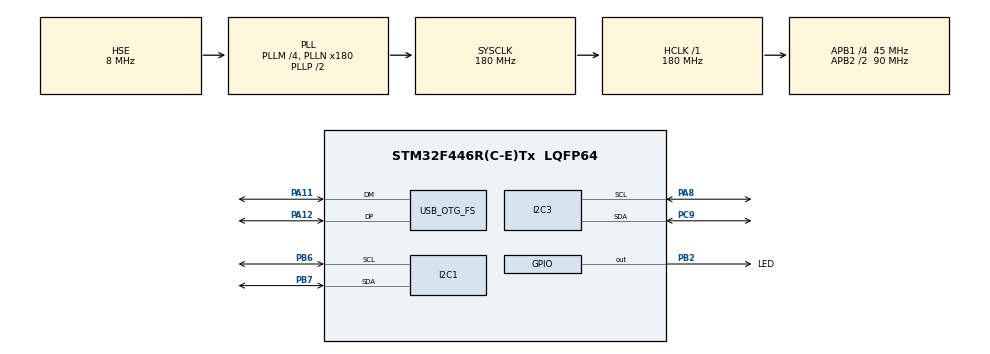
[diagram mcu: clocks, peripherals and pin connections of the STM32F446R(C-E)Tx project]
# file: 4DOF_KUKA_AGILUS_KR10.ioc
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I2C3.I2C_Mode=I2C_Fast
Mcu.Family=STM32F4
Mcu.Name=STM32F446R(C-E)Tx
Mcu.Package=LQFP64
NVIC.OTG_FS_IRQn=true\:0\:0\:false\:false\:true\:false\:true\:true
NVIC.PriorityGroup=NVIC_PRIORITYGROUP_4
PA11.Mode=Device_Only
PA11.Signal=USB_OTG_FS_DM
PA12.Mode=Device_Only
PA12.Signal=USB_OTG_FS_DP
PA13.Mode=Serial_Wire
PA13.Signal=SYS_JTMS-SWDIO
PA14.Mode=Serial_Wire
PA14.Signal=SYS_JTCK-SWCLK
PA8.Mode=I2C
PA8.Signal=I2C3_SCL
PB2.GPIO_Label=LED
PB2.Signal=GPIO_Output
PB6.Mode=I2C
PB6.Signal=I2C1_SCL
PB7.Mode=I2C
PB7.Signal=I2C1_SDA
PC9.Mode=I2C
PC9.Signal=I2C3_SDA
PH0-OSC_IN.Mode=HSE-External-Oscillator
PH0-OSC_IN.Signal=RCC_OSC_IN
PH1-OSC_OUT.Mode=HSE-External-Oscillator
PH1-OSC_OUT.Signal=RCC_OSC_OUT
ProjectManager.HeapSize=0x200
ProjectManager.StackSize=0x400
ProjectManager.TargetToolchain=STM32CubeIDE
RCC.AHBFreq_Value=180000000
RCC.APB1CLKDivider=RCC_HCLK_DIV4
RCC.APB1Freq_Value=45000000
RCC.APB1TimFreq_Value=90000000
RCC.APB2CLKDivider=RCC_HCLK_DIV2
RCC.APB2Freq_Value=90000000
RCC.APB2TimFreq_Value=180000000
RCC.CortexFreq_Value=180000000
RCC.HCLKFreq_Value=180000000
RCC.HSE_VALUE=8000000
RCC.PLLM=4
RCC.PLLN=180
RCC.PLLQ=7
RCC.PLLSAIM=8
RCC.PLLSAIP=RCC_PLLSAIP_DIV4
RCC.SYSCLKFreq_VALUE=180000000
RCC.SYSCLKSource=RCC_SYSCLKSOURCE_PLLCLK
RCC.USBCLockSelection=RCC_CLK48CLKSOURCE_PLLSAIP
RCC.USBFreq_Value=48000000
RCC.VCOOutputFreq_Value=360000000
USB_DEVICE.CLASS_NAME_FS=CDC
USB_DEVICE.MANUFACTURER_STRING-CDC_FS=DarckoElectronics
USB_DEVICE.VirtualMode-CDC_FS=Cdc
USB_DEVICE.VirtualModeFS=Cdc_FS
USB_OTG_FS.VirtualMode=Device_Only
VP_USB_DEVICE_VS_USB_DEVICE_CDC_FS.Mode=CDC_FS
board=custom

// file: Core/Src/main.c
/* USER CODE BEGIN Header */
/**
 ******************************************************************************
 * @file           : main.c
 * @brief          : Main program body
 ******************************************************************************
 * @attention
 *
 * Copyright (c) 2026 STMicroelectronics.
 * All rights reserved.
 *
 * This software is licensed under terms that can be found in the LICENSE file
 * in the root directory of this software component.
 * If no LICENSE file comes with this software, it is provided AS-IS.
 *
 ******************************************************************************
 */
/* USER CODE END Header */
#include "main.h"
#include "usb_device.h"

/* USER CODE BEGIN Includes */
#include <math.h>
#include <stdarg.h>
#include <stdio.h>
#include <stdlib.h>
#include <string.h>
#include <usbd_cdc_if.h>

#include "ANSII_Codes.h"
#include "SSD1306.h"
#include "PCA9685.h"
#include "robotics.h"
/* USER CODE END Includes */

/* USER CODE BEGIN PTD */
#if KR10_TERMINAL_MENU
/** Estado del menú de usuario */
typedef enum {
	MENU_MAIN,          /**< Esperando una opción del menú principal */
	MENU_ANGLES,        /**< Capturando los ángulos articulares */
	MENU_SEQUENCE       /**< Secuencia de prueba en ejecución */
} Menu_State_t;
#endif
/* USER CODE END PTD */

/* USER CODE BEGIN PD */
// ============================================================================
// SECUENCIA DE PRUEBA
// ============================================================================
#define DELAY_TEST_SEQUENCE     5000U   /**< Tiempo entre poses de la secuencia [ms] */
#define TEST_SEQUENCE_LENGTH    5U      /**< Número de poses de la secuencia */

// ============================================================================
// CONFIGURACIÓN DE SERVOS
// ============================================================================
#define SERVO_PWM_FREQUENCY     50U     /**< Frecuencia PWM para servos [Hz] */
#define SERVO_UPDATE_INTERVAL   20U     /**< Periodo de actualización del movimiento suave [ms] */
#define SERVO_MOVE_DURATION     1500U   /**< Duración de cada movimiento [ms] */
#define SERVO_ZERO_DEG          0.0f    /**< Ángulo del servo correspondiente a q = 0 (horizontal) [°] */

// ============================================================================
// INTERFAZ USB-CDC
// ============================================================================
#define CDC_TX_TIMEOUT          20U     /**< Espera máxima por mensaje si el host no lee [ms] */
#define RX_RING_SIZE            256U    /**< Bytes recibidos pendientes de procesar */
#define LINE_BUFFER_SIZE        32U     /**< Longitud máxima de una línea de la interfaz de terminal */
#define CMD_LINE_SIZE           96U     /**< Longitud máxima de una línea del protocolo de host */
#define OLED_TITLE_SIZE         20U     /**< Longitud del título mostrado en la barra de la OLED */
#define KR10_FW_VERSION         "1.1"   /**< Versión del firmware informada al host */
#define KR10_LINE_PREFIX        "KR10:" /**< Prefijo de toda línea emitida hacia el host */

/** Poner a 1 para compilar la interfaz de terminal del firmware (modo autónomo,
 *  sin PC conectado). La interfaz de Python sustituye a este menú, por lo que
 *  el valor por defecto es 0 y el firmware queda como agente de control.
 *  Se puede forzar por línea de comandos con -DKR10_TERMINAL_MENU=1. */
#ifndef KR10_TERMINAL_MENU
#define KR10_TERMINAL_MENU      0
#endif

// Estilos para la interfaz
#define HEADER_COLOR            COLOR_BRIGHT_CYAN
#define MENU_COLOR              COLOR_BRIGHT_GREEN
#define OPTION_COLOR            COLOR_CYAN
#define WARNING_COLOR           COLOR_BRIGHT_YELLOW
#define ERROR_COLOR             COLOR_BRIGHT_RED
#define SUCCESS_COLOR           COLOR_BRIGHT_GREEN
#define INFO_COLOR              COLOR_BRIGHT_BLUE
#define INPUT_COLOR             COLOR_BRIGHT_WHITE
#define VALUE_COLOR             COLOR_YELLOW
#define SEPARATOR_COLOR         COLOR_BRIGHT_MAGENTA

// Elementos gráficos de la terminal (UTF-8: cada carácter de recuadro ocupa 3 bytes)
#define BOX_TOP     "╔══════════════════════════════════════════════════╗"
#define BOX_BOTTOM  "╚══════════════════════════════════════════════════╝"
#define TERM_RULE   "──────────────────────────────────────────────────"
#define GAUGE_WIDTH             21U     /**< Ancho de la barra de posición articular [caracteres] */
/* USER CODE END PD */

I2C_HandleTypeDef hi2c1;
I2C_HandleTypeDef hi2c3;

/* USER CODE BEGIN PV */
/** Canal del PCA9685 asignado a cada articulación (base, hombro, codo, muñeca) */
static const uint8_t JointChannel[ROBOTICS_NUM_JOINTS] = {0, 1, 2, 3};

/** Secuencia de prueba en espacio articular [rad], dentro de 0°-180° */
static const float TestSequence[TEST_SEQUENCE_LENGTH][ROBOTICS_NUM_JOINTS] = {
		{ ROBOTICS_DEG2RAD(  0.0f), ROBOTICS_DEG2RAD(  0.0f), ROBOTICS_DEG2RAD(  0.0f), ROBOTICS_DEG2RAD(  0.0f) },
		{ ROBOTICS_DEG2RAD( 45.0f), ROBOTICS_DEG2RAD( 30.0f), ROBOTICS_DEG2RAD( 30.0f), ROBOTICS_DEG2RAD(  0.0f) },
		{ ROBOTICS_DEG2RAD(135.0f), ROBOTICS_DEG2RAD( 30.0f), ROBOTICS_DEG2RAD( 30.0f), ROBOTICS_DEG2RAD(  0.0f) },
		{ ROBOTICS_DEG2RAD( 90.0f), ROBOTICS_DEG2RAD( 60.0f), ROBOTICS_DEG2RAD( 60.0f), ROBOTICS_DEG2RAD( 30.0f) },
		{ ROBOTICS_DEG2RAD( 90.0f), ROBOTICS_DEG2RAD( 90.0f), ROBOTICS_DEG2RAD(  0.0f), ROBOTICS_DEG2RAD(  0.0f) }
};

Robotics_Arm_t arm;                             /**< Estado cinemático del brazo (q, T, pose) */
Servo_Smooth_t servos[ROBOTICS_NUM_JOINTS];     /**< Movimiento suave de cada servo */

PCA9685_Status_t status_pca;
SSD1306_Status_t status_ssd;

char buffer[256];

extern USBD_HandleTypeDef hUsbDeviceFS;

/** Configuración articular de la posición HOME [rad] */
static const float HomePose[ROBOTICS_NUM_JOINTS] = { 0.0f, 0.0f, 0.0f, 0.0f };

#if KR10_TERMINAL_MENU
/** Nombre de cada articulación para la terminal, rellenado a 6 columnas
 *  a mano porque %-6s cuenta bytes y la 'ñ' ocupa 2 en UTF-8 */
static const char* const JointName[ROBOTICS_NUM_JOINTS] = { "Base  ", "Hombro", "Codo  ", "Muñeca" };
#endif

/** Buffer circular de recepción USB-CDC (productor: ISR USB, consumidor: lazo principal) */
static volatile uint8_t rxRing[RX_RING_SIZE];
static volatile uint32_t rxHead = 0;
static volatile uint32_t rxTail = 0;

/** Línea de entrada del protocolo en edición */
static char lineBuf[CMD_LINE_SIZE];
static uint32_t lineLen = 0;

#if KR10_TERMINAL_MENU
static Menu_State_t menuState = MENU_MAIN;

/** Captura manual de ángulos */
static uint32_t angleStep = 0;
static float angleInput[ROBOTICS_NUM_JOINTS];
#endif

/** Secuencia de prueba en curso (comandada por el host) */
static bool sequenceActive = false;
static uint32_t sequenceStep = 0;
static uint32_t lastMoveTick = 0;

#if !KR10_TERMINAL_MENU
/** Movimiento simple en curso: el lazo principal lo supervisa y avisa al host */
static bool moveActive = false;

/** Título mostrado en la barra de la OLED para el movimiento en curso */
static char oledTitle[OLED_TITLE_SIZE];
#endif
/* USER CODE END PV */

void SystemClock_Config(void);
static void MX_GPIO_Init(void);
static void MX_I2C1_Init(void);
static void MX_I2C3_Init(void);
/* USER CODE BEGIN PFP */
static float Arm_JointToServoAngle(float q);
static void Arm_Init(void);
static Robotics_Status_t Arm_MoveTo(const float q[ROBOTICS_NUM_JOINTS], uint32_t durationMs);
static bool Arm_Update(void);

static void CDC_Print(const char* str);
static void Display_ShowArm(const char* title);

#if !KR10_TERMINAL_MENU
/* --- Protocolo de host (interfaz de usuario en Python) ------------------- */
static void Display_ShowError(const char* text);
static void Host_SendLine(const char* line);
static void Host_SendFormat(const char* fmt, ...);
static void Host_SendState(void);
static void Host_SendLimits(void);
static void Host_SendSequenceState(void);
static void Host_SendOk(void);
static void Host_SendError(const char* reason);
static void Host_SendAck(const char* cmd);
static void Host_SendHello(void);
static void Host_SequenceStep(void);
static void Host_StopSequence(void);
static bool Host_StartMove(const float q[ROBOTICS_NUM_JOINTS], const char* title, const char* cmd);
static bool Host_ParseAngles(char* line, float q[ROBOTICS_NUM_JOINTS]);
static void Host_HandleByte(uint8_t c);
static void Host_ProcessLine(char* line);
static bool Host_StrEqArg(const char* arg, const char* cmd);
#else /* KR10_TERMINAL_MENU */

static void CDC_PrintColor(const char* color, const char* msg);
static void Menu_ShowHeader(const char* title);
static uint32_t Menu_GaugeIndex(float q, const Robotics_DH_Param_t* dh);
static void Menu_ShowMain(void);
static void Menu_ShowPrompt(void);
static void Menu_ShowPosition(void);
static void Menu_PrintArmState(void);
static void Menu_PrintReturn(void);
static void Menu_PromptAngle(void);
static void Menu_MoveBlocking(const float q[ROBOTICS_NUM_JOINTS], const char* title);
static void Menu_SequenceStep(void);
static void Menu_HandleByte(uint8_t c);
static void Menu_ProcessLine(char* line);
static void Menu_ProcessAngle(char* line);
#endif /* KR10_TERMINAL_MENU */
/* USER CODE END PFP */

int main(void)
{

  /* MCU Configuration--------------------------------------------------------*/

  /* Reset of all peripherals, Initializes the Flash interface and the Systick. */
  HAL_Init();

  /* Configure the system clock */
  SystemClock_Config();

  /* Initialize all configured peripherals */
  MX_GPIO_Init();
  MX_USB_DEVICE_Init();
  MX_I2C1_Init();
  MX_I2C3_Init();
  /* USER CODE BEGIN 2 */

	status_ssd = SSD1306_Init(&hi2c3, 128, 64);

	// Sin PCA9685 el sistema se detiene: avisarlo en la OLED antes de Error_Handler()
	status_pca = PCA9685_Init(&hi2c1, SERVO_PWM_FREQUENCY);
	if(status_pca != PCA9685_OK)
	{
		SSD1306_Fill(SSD1306_COLOR_BLACK);
		SSD1306_GotoXY(0, 0);
		SSD1306_Puts("ERROR PCA9685", &Font_7x10, SSD1306_COLOR_WHITE);
		SSD1306_UpdateScreen();
		Error_Handler();
	}

	HAL_Delay(2000);
	SSD1306_Clear();

	Arm_Init();

	Display_ShowArm("INICIO");

#if KR10_TERMINAL_MENU
	Menu_ShowMain();    // Si el host aún no abre el puerto, ENTER vuelve a mostrarlo
#endif

  /* USER CODE END 2 */

  /* Infinite loop */
  /* USER CODE BEGIN WHILE */
	while (1)
	{
		// Atender los bytes recibidos por USB-CDC
		while(rxTail != rxHead)
		{
			uint8_t c = rxRing[rxTail];
			rxTail = (rxTail + 1U) % RX_RING_SIZE;

#if KR10_TERMINAL_MENU
			Menu_HandleByte(c);
#else
			Host_HandleByte(c);
#endif
		}

		// Avanzar el movimiento en curso y, con la secuencia activa, cuando
		// termine y se cumpla el intervalo, comandar la siguiente pose
		bool idle = Arm_Update();

		#if !KR10_TERMINAL_MENU
		// Aviso al host de que un movimiento simple terminó
		if(moveActive && idle)
		{
			moveActive = false;
			Display_ShowArm(oledTitle);
			Host_SendOk();
			Host_SendState();
		}
#endif

		if(sequenceActive && idle && (HAL_GetTick() - lastMoveTick) >= DELAY_TEST_SEQUENCE)
		{
#if KR10_TERMINAL_MENU
			Menu_SequenceStep();
#else
			Host_SequenceStep();
#endif
		}
    /* USER CODE END WHILE */

	}
}

void SystemClock_Config(void)
{
  RCC_OscInitTypeDef RCC_OscInitStruct = {0};
  RCC_ClkInitTypeDef RCC_ClkInitStruct = {0};

  /** Configure the main internal regulator output voltage
  */
  __HAL_RCC_PWR_CLK_ENABLE();
  __HAL_PWR_VOLTAGESCALING_CONFIG(PWR_REGULATOR_VOLTAGE_SCALE1);

  /** Initializes the RCC Oscillators according to the specified parameters
  * in the RCC_OscInitTypeDef structure.
  */
  RCC_OscInitStruct.OscillatorType = RCC_OSCILLATORTYPE_HSE;
  RCC_OscInitStruct.HSEState = RCC_HSE_ON;
  RCC_OscInitStruct.PLL.PLLState = RCC_PLL_ON;
  RCC_OscInitStruct.PLL.PLLSource = RCC_PLLSOURCE_HSE;
  RCC_OscInitStruct.PLL.PLLM = 4;
  RCC_OscInitStruct.PLL.PLLN = 180;
  RCC_OscInitStruct.PLL.PLLP = RCC_PLLP_DIV2;
  RCC_OscInitStruct.PLL.PLLQ = 7;
  RCC_OscInitStruct.PLL.PLLR = 2;
  if (HAL_RCC_OscConfig(&RCC_OscInitStruct) != HAL_OK)
  {
    Error_Handler();
  }

  /** Activate the Over-Drive mode
  */
  if (HAL_PWREx_EnableOverDrive() != HAL_OK)
  {
    Error_Handler();
  }

  /** Initializes the CPU, AHB and APB buses clocks
  */
  RCC_ClkInitStruct.ClockType = RCC_CLOCKTYPE_HCLK|RCC_CLOCKTYPE_SYSCLK
                              |RCC_CLOCKTYPE_PCLK1|RCC_CLOCKTYPE_PCLK2;
  RCC_ClkInitStruct.SYSCLKSource = RCC_SYSCLKSOURCE_PLLCLK;
  RCC_ClkInitStruct.AHBCLKDivider = RCC_SYSCLK_DIV1;
  RCC_ClkInitStruct.APB1CLKDivider = RCC_HCLK_DIV4;
  RCC_ClkInitStruct.APB2CLKDivider = RCC_HCLK_DIV2;

  if (HAL_RCC_ClockConfig(&RCC_ClkInitStruct, FLASH_LATENCY_5) != HAL_OK)
  {
    Error_Handler();
  }
}

static void MX_I2C1_Init(void)
{

  hi2c1.Instance = I2C1;
  hi2c1.Init.ClockSpeed = 100000;
  hi2c1.Init.DutyCycle = I2C_DUTYCYCLE_2;
  hi2c1.Init.OwnAddress1 = 0;
  hi2c1.Init.AddressingMode = I2C_ADDRESSINGMODE_7BIT;
  hi2c1.Init.DualAddressMode = I2C_DUALADDRESS_DISABLE;
  hi2c1.Init.OwnAddress2 = 0;
  hi2c1.Init.GeneralCallMode = I2C_GENERALCALL_DISABLE;
  hi2c1.Init.NoStretchMode = I2C_NOSTRETCH_DISABLE;
  if (HAL_I2C_Init(&hi2c1) != HAL_OK)
  {
    Error_Handler();
  }

}

static void MX_I2C3_Init(void)
{

  hi2c3.Instance = I2C3;
  hi2c3.Init.ClockSpeed = 400000;
  hi2c3.Init.DutyCycle = I2C_DUTYCYCLE_2;
  hi2c3.Init.OwnAddress1 = 0;
  hi2c3.Init.AddressingMode = I2C_ADDRESSINGMODE_7BIT;
  hi2c3.Init.DualAddressMode = I2C_DUALADDRESS_DISABLE;
  hi2c3.Init.OwnAddress2 = 0;
  hi2c3.Init.GeneralCallMode = I2C_GENERALCALL_DISABLE;
  hi2c3.Init.NoStretchMode = I2C_NOSTRETCH_DISABLE;
  if (HAL_I2C_Init(&hi2c3) != HAL_OK)
  {
    Error_Handler();
  }

}

static void MX_GPIO_Init(void)
{
  GPIO_InitTypeDef GPIO_InitStruct = {0};

  /* GPIO Ports Clock Enable */
  __HAL_RCC_GPIOH_CLK_ENABLE();
  __HAL_RCC_GPIOB_CLK_ENABLE();
  __HAL_RCC_GPIOC_CLK_ENABLE();
  __HAL_RCC_GPIOA_CLK_ENABLE();

  /*Configure GPIO pin Output Level */
  HAL_GPIO_WritePin(LED_GPIO_Port, LED_Pin, GPIO_PIN_RESET);

  /*Configure GPIO pin : LED_Pin */
  GPIO_InitStruct.Pin = LED_Pin;
  GPIO_InitStruct.Mode = GPIO_MODE_OUTPUT_PP;
  GPIO_InitStruct.Pull = GPIO_NOPULL;
  GPIO_InitStruct.Speed = GPIO_SPEED_FREQ_LOW;
  HAL_GPIO_Init(LED_GPIO_Port, &GPIO_InitStruct);

}

/* USER CODE BEGIN 4 */

/**
 * @brief Convierte un ángulo articular al ángulo de comando del servo.
 *
 * @details q = 0 es la posición horizontal, que corresponde a SERVO_ZERO_DEG,
 * de modo que el rango articular [0, pi] cubre los 0°-180° del servo. El
 * sentido de montaje de cada servo ya está modelado en la tabla DH
 * (campo direction), por lo que aquí no se invierte ningún canal.
 *
 * @param q Ángulo articular [rad].
 *
 * @return float Ángulo del servo [°].
 */
static float Arm_JointToServoAngle(float q)
{
    return SERVO_ZERO_DEG + ROBOTICS_RAD2DEG(q);
}

/**
 * @brief Inicializa el modelo cinemático y lleva el brazo a q = 0.
 *
 * @note Requiere el PCA9685 ya inicializado. Cualquier fallo detiene el
 * sistema en Error_Handler().
 */
static void Arm_Init(void)
{
    if(Robotics_Init(NULL) != ROBOTICS_OK)
    {
        Error_Handler();
    }

    if(Robotics_InitArm(&arm, NULL) != ROBOTICS_OK)
    {
        Error_Handler();
    }

    for(uint32_t i = 0; i < ROBOTICS_NUM_JOINTS; i++)
    {
        if(PCA9685_InitSmoothServo(&servos[i], JointChannel[i], Arm_JointToServoAngle(arm.q[i]), SERVO_UPDATE_INTERVAL) != PCA9685_OK)
        {
            Error_Handler();
        }
    }
}

/**
 * @brief Inicia un movimiento suave del brazo hacia una configuración articular.
 *
 * @details Valida los límites articulares y actualiza la cinemática directa
 * (arm.T y arm.pose) antes de mover los servos. Si la configuración no es
 * válida, el brazo no se mueve.
 *
 * @param q Ángulos articulares objetivo [rad].
 * @param durationMs Duración del movimiento [ms].
 *
 * @return Robotics_Status_t Estado de la operación (OK, OUT_OF_RANGE, ERROR, ...).
 */
static Robotics_Status_t Arm_MoveTo(const float q[ROBOTICS_NUM_JOINTS], uint32_t durationMs)
{
    Robotics_Status_t status;

    status = Robotics_SetJointAngles(&arm, q);
    if(status != ROBOTICS_OK)
    {
        return status;
    }

    for(uint32_t i = 0; i < ROBOTICS_NUM_JOINTS; i++)
    {
        if(PCA9685_SetSmoothAngle(&servos[i], Arm_JointToServoAngle(arm.q[i]), durationMs) != PCA9685_OK)
        {
            return ROBOTICS_ERROR;
        }
    }

    return ROBOTICS_OK;
}

/**
 * @brief Avanza el movimiento suave de todos los servos (llamar periódicamente).
 *
 * @return true si todos los servos alcanzaron su objetivo, false si alguno
 * sigue en movimiento.
 */
static bool Arm_Update(void)
{
    bool done = true;

    for(uint32_t i = 0; i < ROBOTICS_NUM_JOINTS; i++)
    {
        if(!PCA9685_UpdateSmoothServo(&servos[i]))
        {
            done = false;
        }

        if(servos[i].lastError != PCA9685_OK)
        {
            Error_Handler();
        }
    }

    return done;
}

// ============================================================================
// COMUNICACIÓN USB-CDC
// ============================================================================

/**
 * @brief Recibe los bytes del endpoint OUT y los encola para el lazo principal.
 *
 * @note Se ejecuta en el ISR USB: no debe transmitir ni bloquear. Si el
 * buffer circular se llena, los bytes sobrantes se descartan.
 */
void CDC_ReceiveCallback(uint8_t* Buf, uint32_t Len)
{
    for(uint32_t i = 0; i < Len; i++)
    {
        uint32_t next = (rxHead + 1U) % RX_RING_SIZE;
        if(next == rxTail)
        {
            break;
        }
        rxRing[rxHead] = Buf[i];
        rxHead = next;
    }
}

/**
 * @brief Envía una cadena por USB-CDC y espera a que termine de salir.
 *
 * @details CDC_Transmit_FS() transmite desde el buffer del llamador de forma
 * asíncrona y retorna USBD_BUSY si hay un envío en curso; esperar a TxState
 * permite reutilizar el buffer inmediatamente. Si el puerto no está
 * configurado o el host no lee, el mensaje se descarta.
 *
 * @param str Cadena terminada en '\0'.
 */
static void CDC_Print(const char* str)
{
    // ponytail: descarta el mensaje tras CDC_TX_TIMEOUT si el host no lee; usar cola TX si se requiere entrega garantizada
    if(hUsbDeviceFS.dev_state != USBD_STATE_CONFIGURED)
    {
        return;
    }

    uint32_t start = HAL_GetTick();
    while(CDC_Transmit_FS((uint8_t*)str, strlen(str)) == USBD_BUSY)
    {
        if((HAL_GetTick() - start) >= CDC_TX_TIMEOUT)
        {
            return;
        }
    }

    USBD_CDC_HandleTypeDef* hcdc = (USBD_CDC_HandleTypeDef*)hUsbDeviceFS.pClassData;
    while(hcdc->TxState != 0U && (HAL_GetTick() - start) < CDC_TX_TIMEOUT)
    {
    }
}

#if KR10_TERMINAL_MENU
/**
 * @brief Envía un mensaje de una línea con color.
 *
 * @param color Código de color ANSI.
 * @param msg Mensaje (no debe ser el buffer global).
 */
static void CDC_PrintColor(const char* color, const char* msg)
{
    snprintf(buffer, sizeof(buffer), "  %s%s%s\r\n", color, msg, COLOR_RESET);
    CDC_Print(buffer);
}
#endif

// ============================================================================
// PANTALLA OLED
// ============================================================================

/**
 * @brief Muestra en la OLED los ángulos articulares y la pose del efector.
 *
 * @details Barra de título invertida y dos columnas: Q1-Q4 [°] a la
 * izquierda; X, Y, Z [mm] y pitch [°] del efector a la derecha.
 *
 * @param title Título de la barra superior (solo ASCII, máx. 17 caracteres).
 */
static void Display_ShowArm(const char* title)
{
    // Una fila por articulación; la columna derecha reutiliza las 4 filas
    static const char PoseName[ROBOTICS_NUM_JOINTS] = { 'X', 'Y', 'Z', 'P' };
    const float pose[ROBOTICS_NUM_JOINTS] = { arm.pose.x, arm.pose.y, arm.pose.z, ROBOTICS_RAD2DEG(arm.pose.pitch) };
    char line[20];

    SSD1306_Fill(SSD1306_COLOR_BLACK);

    SSD1306_DrawFilledRectangle(0, 0, SSD1306_GetWidth() - 1U, 11, SSD1306_COLOR_WHITE);
    SSD1306_GotoXY(2, 1);
    snprintf(line, sizeof(line), "%s", title);
    SSD1306_Puts(line, &Font_7x10, SSD1306_COLOR_BLACK);

    SSD1306_DrawFastVLine(63, 14, 50, SSD1306_COLOR_WHITE);

    for(uint32_t i = 0; i < ROBOTICS_NUM_JOINTS; i++)
    {
        uint16_t y = 15U + (uint16_t)(i * 12U);

        SSD1306_GotoXY(0, y);
        snprintf(line, sizeof(line), "Q%lu%6.1f", i + 1U, ROBOTICS_RAD2DEG(arm.q[i]));
        SSD1306_Puts(line, &Font_7x10, SSD1306_COLOR_WHITE);

        SSD1306_GotoXY(67, y);
        snprintf(line, sizeof(line), "%c%7.1f", PoseName[i], pose[i]);
        SSD1306_Puts(line, &Font_7x10, SSD1306_COLOR_WHITE);
    }

    // El aviso de la terminal refleja el último envío real, no solo el de SSD1306_Init()
    status_ssd = SSD1306_UpdateScreen();
}

// ============================================================================
// PROTOCOLO DE HOST (USB-CDC, texto)
// ============================================================================
//
// El firmware actúa como agente de control: la interfaz de usuario vive en
// Python y se comunica con líneas de texto terminadas en CRLF. Todas las
// respuestas se prefijan con KR10: para que el host las distinga de restos de
// una sesión anterior y pueda ignorarlas con seguridad.
//
// Comandos (host -> firmware):
//   PING                      -> OK PONG <fw>
//   HELLO                     -> OK / ID / LIM / OLED ... / END
//   STATUS                    -> OK / Q i angulo ... / POSE x y z pitch yaw / OLED n / END
//   LIMITS                    -> OK / LIM i min max ... / END
//   MOVE q1 q2 q3 q4           -> OK (al terminar: OK + STATE)
//   HOME                      -> OK (al terminar: OK + STATE)
//   SEQ START|STOP            -> OK
//   SEQ STATUS                -> OK / SEQ i n / END
//   OLED titulo               -> OK
//   STOP                      -> OK (aborta movimiento en curso)
//
// Los ángulos viajan siempre en grados; la conversión a radianes y la
// validación de límites se hacen aquí, igual que en la interfaz de terminal.
// ============================================================================

#if !KR10_TERMINAL_MENU

/**
  * @brief Muestra en la OLED un mensaje de error y detiene el sistema.
  *
  * @param text Mensaje ASCII a mostrar.
  */
static void Display_ShowError(const char* text)
{
    SSD1306_Fill(SSD1306_COLOR_BLACK);
    SSD1306_GotoXY(0, 0);
    // SSD1306_Puts() no acepta const, pero solo lee el puntero
    SSD1306_Puts((char*)text, &Font_7x10, SSD1306_COLOR_WHITE);
    SSD1306_UpdateScreen();
    Error_Handler();
}

/**
  * @brief Envía una línea terminada en CRLF hacia el host.
  *
  * @param line Cadena terminada en '\0' (sin CRLF).
  */
static void Host_SendLine(const char* line)
{
    uint32_t start = HAL_GetTick();

    if(hUsbDeviceFS.dev_state != USBD_STATE_CONFIGURED)
    {
        return;
    }

    snprintf(buffer, sizeof(buffer), KR10_LINE_PREFIX "%s\r\n", line);
    CDC_Print(buffer);

    // No bloquear el lazo principal si el host no lee
    (void)start;
}

/**
  * @brief Envía una línea formateada hacia el host.
  *
  * @param fmt Formato printf (sin el prefijo ni el CRLF).
  * @param ... Argumentos del formato.
  */
static void Host_SendFormat(const char* fmt, ...)
{
    char line[CMD_LINE_SIZE];
    va_list args;

    va_start(args, fmt);
    vsnprintf(line, sizeof(line), fmt, args);
    va_end(args);

    Host_SendLine(line);
}

/**
  * @brief Compara el primer token de una línea con un comando.
  *
  * @details Se detiene en el primer espacio, por lo que "MOVE 0 0 0 0" casa
  * con "MOVE". La comparación no distingue mayúsculas porque los usuarios
  * escriben a mano; el resto del protocolo sí es sensible.
  *
  * @param arg Primer token de la línea recibida.
  * @param cmd Comando a comparar.
  *
  * @return true si coincide.
  */
static bool Host_StrEqArg(const char* arg, const char* cmd)
{
    while(*cmd != '\0')
    {
        char c = *arg++;

        if(c >= 'a' && c <= 'z')
        {
            c = (char)(c - ('a' - 'A'));
        }

        if(c != *cmd++)
        {
            return false;
        }
    }

    return (*arg == '\0' || *arg == ' ');
}

/**
  * @brief Envía la línea de confirmación OK.
  */
static void Host_SendOk(void)
{
    Host_SendLine("OK");
}

/**
  * @brief Envía un error seguido del fin de la respuesta.
  *
  * @param reason Código de error legible por el host.
  */
static void Host_SendError(const char* reason)
{
    Host_SendFormat("ERR %s", reason);
    Host_SendLine("END");
}

/**
  * @brief Envía el acuse de un comando y el final de la respuesta.
  *
  * @param cmd Nombre del comando atendido.
  */
static void Host_SendAck(const char* cmd)
{
    Host_SendFormat("OK %s", cmd);
    Host_SendLine("END");
}

/**
  * @brief Envía la descripción del robot (identidad y capacidades).
  */
static void Host_SendHello(void)
{
    Host_SendFormat("ID KR10 4DOF %s", KR10_FW_VERSION);
    Host_SendFormat("JOINTS %u", (unsigned)ROBOTICS_NUM_JOINTS);
    Host_SendFormat("MOVE_MS %u", (unsigned)SERVO_MOVE_DURATION);
    Host_SendFormat("SEQ_LEN %u", (unsigned)TEST_SEQUENCE_LENGTH);
    Host_SendFormat("SEQ_DELAY_MS %u", (unsigned)DELAY_TEST_SEQUENCE);
    Host_SendFormat("OLED %d", (status_ssd == SSD1306_OK) ? 1 : 0);
    Host_SendLine("END");
}

/**
  * @brief Envía la cinemática actual: ángulos articulares y pose del efector.
  */
static void Host_SendState(void)
{
    for(uint32_t i = 0; i < ROBOTICS_NUM_JOINTS; i++)
    {
        Host_SendFormat("Q %u %.2f", (unsigned)(i + 1U), ROBOTICS_RAD2DEG(arm.q[i]));
    }

    Host_SendFormat("POSE %.2f %.2f %.2f %.2f %.2f",
                    arm.pose.x, arm.pose.y, arm.pose.z,
                    ROBOTICS_RAD2DEG(arm.pose.pitch), ROBOTICS_RAD2DEG(arm.pose.yaw));

    Host_SendFormat("OLED %d", (status_ssd == SSD1306_OK) ? 1 : 0);
    Host_SendLine("END");
}

/**
  * @brief Envía los límites articulares en grados.
  */
static void Host_SendLimits(void)
{
    for(uint32_t i = 0; i < ROBOTICS_NUM_JOINTS; i++)
    {
        const Robotics_DH_Param_t* dh = &Robotics_DefaultDHTable[i];
        Host_SendFormat("LIM %u %.1f %.1f", (unsigned)(i + 1U),
                        ROBOTICS_RAD2DEG(dh->minAngle), ROBOTICS_RAD2DEG(dh->maxAngle));
    }
    Host_SendLine("END");
}

/**
  * @brief Envía el avance de la secuencia automática.
  */
static void Host_SendSequenceState(void)
{
    if(!sequenceActive)
    {
        Host_SendLine("SEQ IDLE");
    }
    else
    {
        Host_SendFormat("SEQ %lu %u", (unsigned long)sequenceStep, (unsigned)TEST_SEQUENCE_LENGTH);
    }
}

/**
  * @brief Extrae cuatro ángulos en grados de una línea de comando.
  *
  * @details Acepta ',' o '.' como separador decimal, igual que el menú de
  * terminal. Los valores se devuelven en radianes ya validados contra los
  * límites articulares, de modo que todo lo que acepte el host lo acepta
  * Robotics_SetJointAngles().
  *
  * @param line Línea recibida (terminada en '\0'), se modifica in situ.
  * @param[out] q Ángulos articulares resultantes [rad].
  *
  * @return true si los cuatro valores son válidos.
  */
static bool Host_ParseAngles(char* line, float q[ROBOTICS_NUM_JOINTS])
{
    uint32_t count = 0;
    char* p = line;

    while(*p != '\0' && count < ROBOTICS_NUM_JOINTS)
    {
        char* end;

        for(char* c = p; *c != '\0'; c++)
        {
            if(*c == ',')
            {
                *c = '.';
            }
        }

        float value = ROBOTICS_DEG2RAD(strtof(p, &end));
        if(end == p)
        {
            return false;
        }

        const Robotics_DH_Param_t* dh = &Robotics_DefaultDHTable[count];
        // La comparación negada también rechaza NaN
        if(!(value >= dh->minAngle && value <= dh->maxAngle))
        {
            return false;
        }

        q[count++] = value;
        p = end;

        while(*p == ' ' || *p == '\t')
        {
            p++;
        }
    }

    return (count == ROBOTICS_NUM_JOINTS);
}

/**
  * @brief Lanza un movimiento suave hacia una configuración articular.
  *
  * @details No bloquea: el lazo principal envía el OK y el estado cuando el
  * movimiento termina, de modo que el host puede seguir enviando comandos
  * (STOP, STATUS) mientras el brazo se mueve.
  *
  * @param q Ángulos articulares objetivo [rad].
  * @param title Título para la barra de la OLED.
  * @param cmd Nombre del comando para el acuse.
  *
  * @return true si el movimiento se ha iniciado correctamente.
  */
static bool Host_StartMove(const float q[ROBOTICS_NUM_JOINTS], const char* title, const char* cmd)
{
    if(sequenceActive)
    {
        Host_StopSequence();
    }

    if(Arm_MoveTo(q, SERVO_MOVE_DURATION) != ROBOTICS_OK)
    {
        Host_SendError("RANGE");
        return false;
    }

    snprintf(oledTitle, sizeof(oledTitle), "%s", title);
    moveActive = true;
    Host_SendAck(cmd);
    Display_ShowArm(oledTitle);
    return true;
}

/**
  * @brief Comanda la siguiente pose de la secuencia de prueba.
  */
static void Host_SequenceStep(void)
{
    snprintf(oledTitle, sizeof(oledTitle), "SEQ %lu/%u",
             (unsigned long)(sequenceStep + 1U), (unsigned)TEST_SEQUENCE_LENGTH);

    if(Arm_MoveTo(TestSequence[sequenceStep], SERVO_MOVE_DURATION) != ROBOTICS_OK)
    {
        Display_ShowError("SEQ RANGE");
    }

    // El estado se emite con el índice ya incrementado para que el host sepa
    // cuál es la pose que se acaba de comandar
    sequenceStep = (sequenceStep + 1U) % TEST_SEQUENCE_LENGTH;
    lastMoveTick = HAL_GetTick();

    Display_ShowArm(oledTitle);
    Host_SendSequenceState();
    Host_SendState();
}

/**
  * @brief Detiene la secuencia automática si está en curso.
  */
static void Host_StopSequence(void)
{
    if(sequenceActive)
    {
        sequenceActive = false;
        Display_ShowArm("DETENIDO");
    }
}

/**
  * @brief Arranca la secuencia automática desde la primera pose.
  */
static void Host_StartSequence(void)
{
    sequenceActive = true;
    sequenceStep = 0;
    lastMoveTick = HAL_GetTick() - DELAY_TEST_SEQUENCE;   // Primer paso inmediato
    moveActive = false;
    Host_SendAck("SEQ START");
}

/**
  * @brief Envía la vista OLED actual al host tras un comando OLED.
  *
  * @param title Título ya mostrado en la pantalla.
  */
static void Host_SetOledTitle(const char* title)
{
    snprintf(oledTitle, sizeof(oledTitle), "%s", title);
    Display_ShowArm(oledTitle);
    Host_SendAck("OLED");
}

/**
  * @brief Ensambla y despacha un comando recibido del host.
  *
  * @param line Línea recibida (terminada en '\0'), se modifica in situ.
  */
static void Host_ProcessLine(char* line)
{
    float q[ROBOTICS_NUM_JOINTS];

    // El comando es el primer token; el resto es su argumento
    char* arg = line;
    while(*arg != '\0' && *arg != ' ')
    {
        arg++;
    }
    if(*arg != '\0')
    {
        *arg++ = '\0';
        while(*arg == ' ')
        {
            arg++;
        }
    }

    if(Host_StrEqArg(line, "PING"))
    {
        Host_SendFormat("OK PONG %s", KR10_FW_VERSION);
        Host_SendLine("END");
    }
    else if(Host_StrEqArg(line, "HELLO"))
    {
        Host_SendOk();
        Host_SendHello();
    }
    else if(Host_StrEqArg(line, "STATUS"))
    {
        Host_SendOk();
        Host_SendState();
    }
    else if(Host_StrEqArg(line, "LIMITS"))
    {
        Host_SendOk();
        Host_SendLimits();
    }
    else if(Host_StrEqArg(line, "MOVE"))
    {
        if(!Host_ParseAngles(arg, q))
        {
            Host_SendError("ANGLE");
        }
        else
        {
            Host_StartMove(q, "MANUAL", "MOVE");
        }
    }
    else if(Host_StrEqArg(line, "HOME"))
    {
        Host_StartMove(HomePose, "HOME", "HOME");
    }
    else if(Host_StrEqArg(line, "SEQ"))
    {
        if(Host_StrEqArg(arg, "START"))
        {
            Host_StartSequence();
        }
        else if(Host_StrEqArg(arg, "STOP"))
        {
            Host_StopSequence();
            Host_SendAck("SEQ STOP");
        }
        else if(Host_StrEqArg(arg, "STATUS"))
        {
            Host_SendOk();
            Host_SendSequenceState();
            Host_SendLine("END");
        }
        else
        {
            Host_SendError("SEQ ARG");
        }
    }
    else if(Host_StrEqArg(line, "OLED"))
    {
        if(arg[0] == '\0')
        {
            Host_SendError("OLED ARG");
        }
        else
        {
            Host_SetOledTitle(arg);
        }
    }
    else if(Host_StrEqArg(line, "STOP"))
    {
        Host_StopSequence();

        if(moveActive)
        {
            // Fijar el objetivo en el ángulo actual cancela el movimiento suave
            // sin dejar los servos a medio camino de un destino arbitrario
            for(uint32_t i = 0; i < ROBOTICS_NUM_JOINTS; i++)
            {
                servos[i].targetAngle = servos[i].currentAngle;
                servos[i].isMoving = false;
            }
            moveActive = false;
            Display_ShowArm("DETENIDO");
        }

        Host_SendAck("STOP");
        Host_SendState();
    }
    else
    {
        Host_SendError("CMD");
    }
}

/**
  * @brief Ensambla líneas de comando: eco desactivado, CRLF = fin de línea.
  *
  * @param c Byte recibido por USB-CDC.
  */
static void Host_HandleByte(uint8_t c)
{
    static uint8_t prev = 0;

    // CRLF cuenta como un solo ENTER
    if(c == '\n' && prev == '\r')
    {
        prev = c;
        return;
    }
    prev = c;

    if(c == '\r' || c == '\n')
    {
        lineBuf[lineLen] = '\0';

        if(lineLen > 0U)
        {
            lineLen = 0;
            Host_ProcessLine(lineBuf);
        }
    }
    else if(c == '\b' || c == 127U)
    {
        if(lineLen > 0U)
        {
            lineLen--;
        }
    }
    else if(c >= ' ' && lineLen < (CMD_LINE_SIZE - 1U))
    {
        lineBuf[lineLen++] = (char)c;
    }
}

#endif /* !KR10_TERMINAL_MENU */

#if KR10_TERMINAL_MENU
// ============================================================================
// MENÚ DE USUARIO
// ============================================================================

/**
 * @brief Limpia la terminal y dibuja el encabezado y el título de la pantalla.
 *
 * @param title Título de la sección.
 */
static void Menu_ShowHeader(const char* title)
{
    snprintf(buffer, sizeof(buffer), "%s%s%s" BOX_TOP "\r\n", CLEAR_SCREEN, CURSOR_HOME, SEPARATOR_COLOR);
    CDC_Print(buffer);

    snprintf(buffer, sizeof(buffer), "║%s%s    KUKA AGILUS KR10  ·  Brazo robótico 4 GDL     %s%s║\r\n",
             HEADER_COLOR, COLOR_BOLD, COLOR_RESET, SEPARATOR_COLOR);
    CDC_Print(buffer);

    snprintf(buffer, sizeof(buffer), "║%s     Cinemática directa · Denavit-Hartenberg      %s║\r\n" BOX_BOTTOM "%s\r\n",
             INFO_COLOR, SEPARATOR_COLOR, COLOR_RESET);
    CDC_Print(buffer);

    if(status_ssd != SSD1306_OK)
    {
        CDC_PrintColor(WARNING_COLOR, "⚠ Pantalla OLED no disponible");
    }

    snprintf(buffer, sizeof(buffer), "\r\n  %s%s▸ %s%s\r\n  %s" TERM_RULE "%s\r\n",
             MENU_COLOR, COLOR_BOLD, title, COLOR_RESET, COLOR_DIM, COLOR_RESET);
    CDC_Print(buffer);
}

/**
 * @brief Muestra el menú principal con un resumen de la pose actual.
 */
static void Menu_ShowMain(void)
{
    static const char* const Option[] = {
        "Ejecutar secuencia automática",
        "Ingresar ángulos manualmente",
        "Ir a posición HOME",
        "Ver posición actual"
    };

    Menu_ShowHeader("MENÚ PRINCIPAL");

    for(uint32_t i = 0; i < sizeof(Option) / sizeof(Option[0]); i++)
    {
        snprintf(buffer, sizeof(buffer), "   %s%s[%lu]%s %s\r\n", OPTION_COLOR, COLOR_BOLD, i + 1U, COLOR_RESET, Option[i]);
        CDC_Print(buffer);
    }

    snprintf(buffer, sizeof(buffer), "  %s" TERM_RULE "%s\r\n", COLOR_DIM, COLOR_RESET);
    CDC_Print(buffer);

    snprintf(buffer, sizeof(buffer), "  %sEfector:%s X %s%.1f%s  Y %s%.1f%s  Z %s%.1f%s mm  Pitch %s%.1f°%s\r\n",
             COLOR_DIM, COLOR_RESET,
             VALUE_COLOR, arm.pose.x, COLOR_RESET,
             VALUE_COLOR, arm.pose.y, COLOR_RESET,
             VALUE_COLOR, arm.pose.z, COLOR_RESET,
             VALUE_COLOR, ROBOTICS_RAD2DEG(arm.pose.pitch), COLOR_RESET);
    CDC_Print(buffer);

    Menu_ShowPrompt();
}

/**
 * @brief Muestra el indicador de entrada del menú principal.
 */
static void Menu_ShowPrompt(void)
{
    snprintf(buffer, sizeof(buffer), "\r\n  %s%sKR10 ›%s Opción [1-4]: %s",
             COLOR_BRIGHT_MAGENTA, COLOR_BOLD, COLOR_RESET, INPUT_COLOR);
    CDC_Print(buffer);
}

/**
 * @brief Muestra la configuración articular y la pose actual del brazo.
 */
static void Menu_ShowPosition(void)
{
    Menu_ShowHeader("POSICIÓN ACTUAL");
    Menu_PrintArmState();
    Menu_PrintReturn();
}

/**
 * @brief Posición de q dentro de la barra de rango de su articulación.
 *
 * @param q Ángulo articular [rad].
 * @param dh Parámetros DH de la articulación (límites).
 *
 * @return uint32_t Índice 0..GAUGE_WIDTH-1.
 */
static uint32_t Menu_GaugeIndex(float q, const Robotics_DH_Param_t* dh)
{
    float t = (q - dh->minAngle) / (dh->maxAngle - dh->minAngle);
    return (uint32_t)(fminf(fmaxf(t, 0.0f), 1.0f) * (float)(GAUGE_WIDTH - 1U) + 0.5f);
}

/**
 * @brief Imprime la tabla de ángulos articulares (con barra de rango) y la
 * pose del efector (arm.q, arm.pose).
 */
static void Menu_PrintArmState(void)
{
    char gauge[GAUGE_WIDTH * 3U + 1U];      // Cada glifo ocupa 3 bytes en UTF-8

    snprintf(buffer, sizeof(buffer), "  %sArticulación Ángulo                Rango%s\r\n", INFO_COLOR, COLOR_RESET);
    CDC_Print(buffer);

    for(uint32_t i = 0; i < ROBOTICS_NUM_JOINTS; i++)
    {
        const Robotics_DH_Param_t* dh = &Robotics_DefaultDHTable[i];
        uint32_t pos  = Menu_GaugeIndex(arm.q[i], dh);
        uint32_t zero = Menu_GaugeIndex(0.0f, dh);
        char* p = gauge;

        for(uint32_t k = 0; k < GAUGE_WIDTH; k++)
        {
            const char* glyph = (k == pos) ? "●" : (k == zero) ? "┼" : "─";
            size_t n = strlen(glyph);
            memcpy(p, glyph, n);
            p += n;
        }
        *p = '\0';

        snprintf(buffer, sizeof(buffer), "  %sQ%lu%s %s  %s%7.1f°%s   %s%4.0f %s%s%s %.0f%s\r\n",
                 OPTION_COLOR, i + 1U, COLOR_RESET, JointName[i],
                 VALUE_COLOR, ROBOTICS_RAD2DEG(arm.q[i]), COLOR_RESET,
                 COLOR_DIM, ROBOTICS_RAD2DEG(dh->minAngle), COLOR_RESET, gauge, COLOR_DIM,
                 ROBOTICS_RAD2DEG(dh->maxAngle), COLOR_RESET);
        CDC_Print(buffer);
    }

    snprintf(buffer, sizeof(buffer), "\r\n  %sEfector final%s\r\n"
             "    X %s%9.2f%s mm      Pitch %s%7.2f°%s\r\n",
             INFO_COLOR, COLOR_RESET,
             VALUE_COLOR, arm.pose.x, COLOR_RESET, VALUE_COLOR, ROBOTICS_RAD2DEG(arm.pose.pitch), COLOR_RESET);
    CDC_Print(buffer);

    snprintf(buffer, sizeof(buffer), "    Y %s%9.2f%s mm      Yaw   %s%7.2f°%s\r\n"
             "    Z %s%9.2f%s mm\r\n",
             VALUE_COLOR, arm.pose.y, COLOR_RESET, VALUE_COLOR, ROBOTICS_RAD2DEG(arm.pose.yaw), COLOR_RESET,
             VALUE_COLOR, arm.pose.z, COLOR_RESET);
    CDC_Print(buffer);
}

/**
 * @brief Indica cómo volver al menú principal.
 */
static void Menu_PrintReturn(void)
{
    snprintf(buffer, sizeof(buffer), "\r\n  %s↵ ENTER para volver al menú%s", COLOR_DIM, COLOR_RESET);
    CDC_Print(buffer);
}

/**
 * @brief Solicita el ángulo de la articulación angleStep.
 */
static void Menu_PromptAngle(void)
{
    const Robotics_DH_Param_t* dh = &Robotics_DefaultDHTable[angleStep];

    snprintf(buffer, sizeof(buffer), "  %s[%lu/%u]%s Q%lu %s %s(%.0f° a %.0f°)%s %s›%s %s",
             COLOR_BRIGHT_MAGENTA, angleStep + 1U, ROBOTICS_NUM_JOINTS, COLOR_RESET,
             angleStep + 1U, JointName[angleStep],
             COLOR_DIM, ROBOTICS_RAD2DEG(dh->minAngle), ROBOTICS_RAD2DEG(dh->maxAngle), COLOR_RESET,
             COLOR_BRIGHT_MAGENTA, COLOR_RESET, INPUT_COLOR);
    CDC_Print(buffer);
}

/**
 * @brief Mueve el brazo a q, espera a que termine y reporta la pose alcanzada.
 *
 * @note Bloquea durante el movimiento; los bytes recibidos se siguen
 * encolando en el buffer circular.
 *
 * @param q Ángulos articulares objetivo [rad].
 * @param title Título para la pantalla OLED.
 */
static void Menu_MoveBlocking(const float q[ROBOTICS_NUM_JOINTS], const char* title)
{
    if(Arm_MoveTo(q, SERVO_MOVE_DURATION) != ROBOTICS_OK)
    {
        CDC_PrintColor(ERROR_COLOR, "✗ No se pudo ejecutar el movimiento (fuera de límites)");
        Menu_PrintReturn();
        return;
    }

    CDC_PrintColor(INFO_COLOR, "ℹ Moviendo robot...");
    Display_ShowArm(title);

    while(!Arm_Update())
    {
    }

    CDC_PrintColor(SUCCESS_COLOR, "✓ Movimiento completado\r\n");
    Menu_PrintArmState();
    Menu_PrintReturn();
}

/**
 * @brief Comanda la siguiente pose de la secuencia de prueba y redibuja el
 * panel de la secuencia (sin desplazar la terminal).
 */
static void Menu_SequenceStep(void)
{
    char title[20];
    char progress[TEST_SEQUENCE_LENGTH * 4U + 1U];  // "● " = 3 + 1 bytes por pose
    char* p = progress;

    if(Arm_MoveTo(TestSequence[sequenceStep], SERVO_MOVE_DURATION) != ROBOTICS_OK)
    {
        Error_Handler();
    }

    for(uint32_t k = 0; k < TEST_SEQUENCE_LENGTH; k++)
    {
        memcpy(p, (k <= sequenceStep) ? "● " : "○ ", 4);
        p += 4;
    }
    *p = '\0';

    Menu_ShowHeader("SECUENCIA AUTOMÁTICA");
    snprintf(buffer, sizeof(buffer), "  Pose %s%lu/%u%s   %s%s%s\r\n\r\n",
             VALUE_COLOR, sequenceStep + 1U, TEST_SEQUENCE_LENGTH, COLOR_RESET, SUCCESS_COLOR, progress, COLOR_RESET);
    CDC_Print(buffer);
    Menu_PrintArmState();

    snprintf(buffer, sizeof(buffer), "\r\n  %s↵ ENTER para detener%s", COLOR_DIM, COLOR_RESET);
    CDC_Print(buffer);

    snprintf(title, sizeof(title), "SECUENCIA %lu/%u", sequenceStep + 1U, TEST_SEQUENCE_LENGTH);
    Display_ShowArm(title);

    sequenceStep = (sequenceStep + 1U) % TEST_SEQUENCE_LENGTH;
    lastMoveTick = HAL_GetTick();
}

/**
 * @brief Edición de línea: eco, retroceso y despacho al pulsar ENTER.
 *
 * @details Un ENTER vacío redibuja el menú principal, cancela la captura de
 * ángulos o detiene la secuencia.
 *
 * @param c Byte recibido por USB-CDC.
 */
static void Menu_HandleByte(uint8_t c)
{
    static uint8_t prev = 0;
    char echo[2] = { (char)c, '\0' };

    // CRLF cuenta como un solo ENTER
    if(c == '\n' && prev == '\r')
    {
        prev = c;
        return;
    }
    prev = c;

    if(c == '\r' || c == '\n')
    {
        CDC_Print(COLOR_RESET "\r\n");
        lineBuf[lineLen] = '\0';

        if(lineLen > 0U || menuState != MENU_MAIN)
        {
            lineLen = 0;
            Menu_ProcessLine(lineBuf);
        }
        else
        {
            Menu_ShowMain();
        }
    }
    else if(c == '\b' || c == 127U)
    {
        if(lineLen > 0U)
        {
            lineLen--;
            CDC_Print("\b \b");
        }
    }
    else if(c >= ' ' && lineLen < (LINE_BUFFER_SIZE - 1U))
    {
        lineBuf[lineLen++] = (char)c;
        CDC_Print(echo);
    }
}

/**
 * @brief Procesa una línea completa según el estado del menú.
 *
 * @param line Línea recibida (terminada en '\0').
 */
static void Menu_ProcessLine(char* line)
{
    char option = (line[0] != '\0' && line[1] == '\0') ? line[0] : '\0';

    switch(menuState)
    {
    case MENU_MAIN:
        switch(option)
        {
        case '1':
            Menu_ShowHeader("SECUENCIA AUTOMÁTICA");
            CDC_PrintColor(INFO_COLOR, "ℹ Iniciando secuencia...");
            sequenceStep = 0;
            lastMoveTick = HAL_GetTick() - DELAY_TEST_SEQUENCE;    // Primer paso inmediato
            sequenceActive = true;     // El lazo principal la hace avanzar
            menuState = MENU_SEQUENCE;
            break;

        case '2':
            Menu_ShowHeader("INGRESO MANUAL DE ÁNGULOS");
            snprintf(buffer, sizeof(buffer), "  %sGrados; acepta '.' o ','. ENTER vacío cancela.%s\r\n\r\n",
                     COLOR_DIM, COLOR_RESET);
            CDC_Print(buffer);
            angleStep = 0;
            menuState = MENU_ANGLES;
            Menu_PromptAngle();
            break;

        case '3':
            Menu_ShowHeader("POSICIÓN HOME");
            Menu_MoveBlocking(HomePose, "HOME");
            break;

        case '4':
            Menu_ShowPosition();
            break;

        default:
            CDC_PrintColor(ERROR_COLOR, "✗ Opción inválida");
            Menu_ShowPrompt();
            break;
        }
        break;

    case MENU_ANGLES:
        if(line[0] == '\0')
        {
            menuState = MENU_MAIN;
            Menu_ShowMain();
        }
        else
        {
            Menu_ProcessAngle(line);
        }
        break;

    case MENU_SEQUENCE:
        // Cualquier línea (incluso vacía) detiene la secuencia
        menuState = MENU_MAIN;
        sequenceActive = false;
        Display_ShowArm("DETENIDO");
        Menu_ShowMain();
        break;
    }
}

/**
 * @brief Valida el ángulo ingresado [°] para la articulación angleStep y,
 * tras la cuarta articulación, mueve el brazo.
 *
 * @details Acepta '.' o ',' como separador decimal. El límite se verifica en
 * radianes igual que Robotics_CheckJointLimits(), de modo que todo valor
 * aceptado aquí también lo acepta la librería.
 *
 * @param line Línea recibida (terminada en '\0').
 */
static void Menu_ProcessAngle(char* line)
{
    const Robotics_DH_Param_t* dh = &Robotics_DefaultDHTable[angleStep];
    char* end;

    for(char* p = line; *p != '\0'; p++)
    {
        if(*p == ',')
        {
            *p = '.';
        }
    }

    float q = ROBOTICS_DEG2RAD(strtof(line, &end));
    while(*end == ' ')
    {
        end++;
    }

    // La comparación negada también rechaza NaN
    if(end == line || *end != '\0' || !(q >= dh->minAngle && q <= dh->maxAngle))
    {
        CDC_PrintColor(ERROR_COLOR, "✗ Valor inválido o fuera de rango");
        Menu_PromptAngle();
        return;
    }

    angleInput[angleStep++] = q;
    if(angleStep < ROBOTICS_NUM_JOINTS)
    {
        Menu_PromptAngle();
        return;
    }

    menuState = MENU_MAIN;
    Menu_ShowHeader("MOVIMIENTO MANUAL");
    Menu_MoveBlocking(angleInput, "MANUAL");
}

#endif /* KR10_TERMINAL_MENU */

/* USER CODE END 4 */

void Error_Handler(void)
{
  /* USER CODE BEGIN Error_Handler_Debug */
	/* User can add his own implementation to report the HAL error return state */
	// LED parpadeando = sistema detenido. Sin interrupciones no hay HAL_Delay(),
	// por eso el retardo es un lazo; MX_GPIO_Init() cubre fallos previos a su llamada
	__disable_irq();
	MX_GPIO_Init();
	while (1)
	{
		HAL_GPIO_TogglePin(LED_GPIO_Port, LED_Pin);
		for(volatile uint32_t i = 0; i < 2000000U; i++)
		{
		}
	}
  /* USER CODE END Error_Handler_Debug */
}
